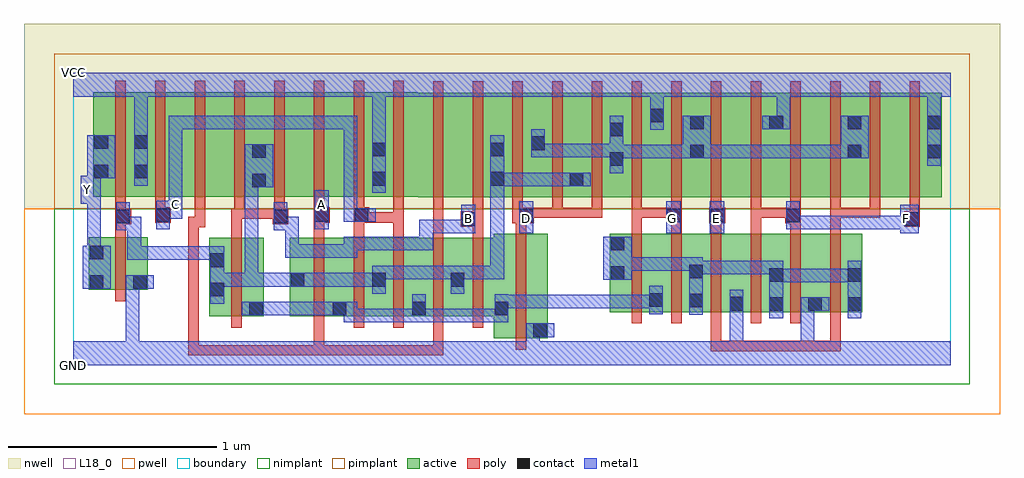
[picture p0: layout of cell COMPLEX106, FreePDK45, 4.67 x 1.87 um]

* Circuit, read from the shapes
.subckt COMPLEX106 A B C D E F G GND VCC Y
M1 GND n1 Y VSUBS nfet w=0.25u l=0.05u
M2 n2 B n1 VSUBS nfet w=0.375u l=0.05u m=2
M3 n2 A n1 VSUBS nfet w=0.375u l=0.05u m=2
M4 n1 C n2 VSUBS nfet w=0.375u l=0.05u m=2
M5 GND D n2 VSUBS nfet w=0.5u l=0.05u
M6 n2 G n3 VSUBS nfet w=0.375u l=0.05u m=2
M7 GND E n3 VSUBS nfet w=0.375u l=0.05u m=2
M8 n3 F GND VSUBS nfet w=0.375u l=0.05u m=2
M9 VCC n1 Y n4 pfet w=0.5u l=0.05u
M10 n5 C VCC n4 pfet w=0.5u l=0.05u
M11 n6 A n5 n4 pfet w=0.5u l=0.05u
M12 n1 B n6 n4 pfet w=0.5u l=0.05u
M13 n7 B n1 n4 pfet w=0.5u l=0.05u
M14 n8 A n7 n4 pfet w=0.5u l=0.05u
M15 VCC C n8 n4 pfet w=0.5u l=0.05u
M16 n9 C VCC n4 pfet w=0.5u l=0.05u
M17 n10 A n9 n4 pfet w=0.5u l=0.05u
M18 n1 B n10 n4 pfet w=0.5u l=0.05u
M19 n11 D n1 n4 pfet w=0.5u l=0.05u m=3
M20 VCC G n11 n4 pfet w=0.5u l=0.05u m=2
M21 n12 E n11 n4 pfet w=0.5u l=0.05u
M22 VCC F n12 n4 pfet w=0.5u l=0.05u
M23 n13 F VCC n4 pfet w=0.5u l=0.05u
M24 n11 E n13 n4 pfet w=0.5u l=0.05u
M25 n14 E n11 n4 pfet w=0.5u l=0.05u
M26 VCC F n14 n4 pfet w=0.5u l=0.05u
.ends

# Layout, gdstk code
import gdstk
lib = gdstk.Library(unit=1e-6, precision=1e-09)
def R(c, l, rs):  # rectangles x0, y0, x1, y1
    for r in rs: c.add(gdstk.rectangle(r[:2], r[2:], *l))
def A(c, l, x, y, w, h, nx, ny, dx, dy):  # array of equal rectangles
    R(c, l, [(x+i*dx, y+j*dy, x+i*dx+w, y+j*dy+h) for i in range(nx) for j in range(ny)])
active = (1, 0)
pwell = (2, 0)
nwell = (3, 0)
nimplant = (4, 0)
pimplant = (5, 0)
poly = (9, 0)
contact = (10, 0)
metal1 = (11, 0)
L18_0 = (18, 0)
boundary = (235, 0)

complex106 = lib.new_cell('COMPLEX106')
R(complex106, active, [(2.012,0.13,2.272,0.63), (2.197,0.13,2.272,0.592), (2.012,0.2,2.087,0.467), (0.652,0.235,0.912,0.61), (0.837,0.235,0.912,0.61), (1.037,0.235,1.312,0.61), (1.237,0.235,1.502,0.61), (1.237,0.235,1.312,0.512), (1.427,0.235,1.692,0.61), (1.617,0.235,1.877,0.61), (1.617,0.235,1.692,0.512), (1.802,0.235,2.087,0.61), (2.567,0.255,2.827,0.63), (2.752,0.255,3.017,0.63), (2.752,0.255,2.827,0.467), (2.942,0.255,3.212,0.63), (2.942,0.255,3.017,0.487), (3.137,0.255,3.402,0.63), (3.137,0.255,3.212,0.512), (3.327,0.255,3.587,0.63), (3.327,0.255,3.402,0.592), (3.512,0.255,3.777,0.63), (3.512,0.255,3.587,0.512), (3.702,0.255,3.777,0.63), (0.652,0.282,0.727,0.61), (1.037,0.32,1.112,0.61), (1.427,0.32,1.502,0.592), (1.802,0.32,1.877,0.467), (2.567,0.32,2.642,0.63), (0.075,0.362,0.15,0.612), (0.075,0.362,0.357,0.612), (0.282,0.362,0.357,0.612), (1.652,0.805,1.842,1.305), (1.842,0.805,2.067,1.305), (1.992,0.805,2.067,1.2), (1.992,0.805,2.262,1.305), (2.187,0.805,2.447,1.305), (2.372,0.805,2.637,1.305), (2.372,0.805,2.447,1.07), (2.562,0.805,2.637,1.2), (2.562,0.805,2.832,1.305), (2.757,0.805,2.832,1.305), (2.757,0.805,3.022,1.305), (2.947,0.805,3.172,1.305), (2.947,0.805,3.022,1.2), (3.172,0.805,3.402,1.305), (3.327,0.805,3.552,1.305), (3.552,0.805,3.777,1.305), (3.702,0.805,3.932,1.305), (3.702,0.805,3.777,1.2), (3.932,0.805,4.157,1.305), (4.082,0.805,4.157,1.305), (0.097,0.807,0.362,1.307), (0.097,0.807,0.172,1.2), (0.287,0.807,0.512,1.307), (0.287,0.807,0.362,1.305), (0.512,0.807,0.702,1.307), (0.702,0.807,0.927,1.307), (0.852,0.807,1.082,1.307), (0.852,0.807,0.927,1.07), (1.082,0.807,1.272,1.307), (1.272,0.807,1.502,1.307), (1.427,0.807,1.652,1.307), (1.427,0.807,1.502,1.305), (2.187,0.807,2.262,1.2), (3.327,0.807,3.402,1.305)])
R(complex106, pwell, [(-0.235,-0.235,4.435,0.75)])
R(complex106, nwell, [(-0.235,0.75,4.435,1.635)])
R(complex106, nimplant, [(-0.09,-0.09,4.29,0.75)])
R(complex106, pimplant, [(-0.09,0.75,4.29,1.49)])
A(complex106, poly, 1.152, 0.18, 0.05, 0.485, 5, 1, 0.19, 0)
A(complex106, poly, 2.672, 0.2, 0.05, 0.485, 6, 1, 0.19, 0)
A(complex106, poly, 1.152, 0.615, 0.05, 0.117, 3, 1, 0.19, 0)
A(complex106, poly, 2.102, 0.705, 0.05, 0.095, 10, 1, 0.19, 0)
A(complex106, poly, 2.292, 0.705, 0.05, 0.05, 3, 1, 0.19, 0)
A(complex106, poly, 1.722, 0.75, 0.05, 0.61, 13, 1, 0.19, 0)
A(complex106, poly, 0.202, 0.752, 0.05, 0.61, 8, 1, 0.19, 0)
R(complex106, poly, [(0.552,0.047,0.602,0.097), (0.552,0.047,0.602,0.097), (0.552,0.047,0.602,0.097), (0.552,0.047,0.735,0.097), (0.552,0.047,0.602,0.71), (0.685,0.047,0.735,0.097), (0.685,0.047,0.735,0.097), (0.685,0.047,0.735,0.097), (0.685,0.047,1.07,0.097), (1.02,0.047,1.07,0.097), (1.02,0.047,1.07,0.097), (1.02,0.047,1.07,0.097), (1.02,0.047,1.202,0.097), (1.152,0.047,1.202,0.097), (1.152,0.047,1.202,0.097), (1.152,0.047,1.202,0.097), (1.152,0.047,1.202,0.23), (1.152,0.047,1.335,0.097), (1.285,0.047,1.335,0.097), (1.285,0.047,1.335,0.097), (1.285,0.047,1.335,0.097), (1.285,0.047,1.55,0.097), (1.5,0.047,1.55,0.097), (1.5,0.047,1.55,0.097), (1.5,0.047,1.55,0.097), (1.5,0.047,1.772,0.097), (1.722,0.047,1.772,0.097), (1.722,0.047,1.772,0.097), (1.722,0.047,1.772,0.097), (1.722,0.047,1.772,0.23), (3.052,0.067,3.102,0.117), (3.052,0.067,3.102,0.25), (3.052,0.067,3.325,0.117), (3.275,0.067,3.325,0.117), (3.275,0.067,3.325,0.117), (3.275,0.067,3.325,0.117), (3.275,0.067,3.457,0.117), (3.407,0.067,3.457,0.117), (3.407,0.067,3.457,0.117), (3.407,0.067,3.457,0.117), (3.407,0.067,3.672,0.117), (3.622,0.067,3.672,0.117), (3.622,0.067,3.672,0.117), (3.622,0.067,3.672,0.117), (3.622,0.067,3.672,0.25), (2.117,0.075,2.167,0.685), (0.757,0.18,0.807,0.665), (0.202,0.307,0.252,0.667), (0.757,0.615,0.807,0.75), (1.722,0.615,1.772,0.755), (1.912,0.615,1.962,0.712), (0.202,0.617,0.252,0.725), (2.117,0.635,2.167,0.73), (2.672,0.635,2.722,0.755), (2.862,0.635,2.912,0.73), (3.052,0.635,3.102,0.73), (3.242,0.635,3.292,0.755), (3.432,0.635,3.482,0.73), (3.622,0.635,3.672,0.755), (0.552,0.66,0.602,0.71), (0.552,0.66,0.602,0.71), (0.552,0.66,0.602,0.71), (0.552,0.66,0.602,0.71), (0.552,0.66,0.632,0.71), (0.582,0.66,0.632,0.802), (1.855,0.662,1.962,0.737), (3.977,0.662,4.052,0.737), (0.202,0.675,0.277,0.75), (0.955,0.675,1.03,0.75), (2.102,0.68,2.205,0.755), (2.837,0.68,2.912,0.755), (3.045,0.68,3.12,0.755), (3.407,0.68,3.482,0.755), (0.392,0.682,0.467,0.757), (1.152,0.682,1.227,0.757), (1.342,0.682,1.417,0.757), (1.367,0.682,1.582,0.732), (1.532,0.682,1.582,0.732), (1.532,0.682,1.582,0.732), (1.532,0.682,1.582,0.732), (1.532,0.682,1.582,0.802), (1.912,0.687,1.962,0.8), (4.002,0.687,4.052,0.8), (0.202,0.7,0.252,0.802), (0.757,0.7,0.822,0.75), (0.772,0.7,0.822,0.802), (0.772,0.7,1.005,0.75), (0.955,0.7,1.005,0.75), (0.955,0.7,1.005,0.75), (0.962,0.7,1.012,0.802), (1.722,0.705,1.772,0.8), (1.722,0.705,1.772,0.755), (2.155,0.705,2.205,0.755), (2.155,0.705,2.205,0.755), (2.155,0.705,2.342,0.755), (2.292,0.705,2.342,0.755), (2.292,0.705,2.342,0.755), (2.292,0.705,2.532,0.755), (2.672,0.705,2.887,0.755), (2.837,0.705,2.887,0.755), (2.837,0.705,2.887,0.755), (3.242,0.705,3.292,0.755), (3.242,0.705,3.457,0.755), (3.407,0.705,3.457,0.755), (3.407,0.705,3.457,0.755), (3.622,0.705,3.672,0.755), (3.622,0.705,3.862,0.755), (3.812,0.705,3.862,0.755), (3.812,0.705,3.862,0.755), (3.812,0.705,3.862,0.755), (0.392,0.707,0.442,0.802), (1.152,0.707,1.202,0.802), (1.342,0.707,1.392,0.802)])
R(complex106, contact, [(2.202,0.135,2.267,0.2), (0.842,0.24,0.907,0.305), (1.242,0.24,1.307,0.305), (1.622,0.24,1.687,0.305), (2.017,0.24,2.082,0.305), (3.332,0.26,3.397,0.325), (3.517,0.26,3.582,0.325), (3.707,0.26,3.772,0.325), (3.142,0.262,3.207,0.327), (2.947,0.277,3.012,0.342), (2.757,0.28,2.822,0.345), (0.657,0.33,0.722,0.395), (0.08,0.367,0.145,0.432), (0.287,0.367,0.352,0.432), (1.042,0.377,1.107,0.442), (1.432,0.377,1.497,0.442), (1.807,0.377,1.872,0.442), (3.332,0.4,3.397,0.465), (3.707,0.4,3.772,0.465), (2.572,0.41,2.637,0.475), (2.947,0.417,3.012,0.482), (0.657,0.47,0.722,0.535), (0.08,0.507,0.145,0.572), (2.572,0.55,2.637,0.615), (1.86,0.667,1.925,0.732), (3.982,0.667,4.047,0.732), (0.207,0.68,0.272,0.745), (0.96,0.68,1.025,0.745), (2.135,0.685,2.2,0.75), (2.842,0.685,2.907,0.75), (3.05,0.685,3.115,0.75), (3.412,0.685,3.477,0.75), (0.397,0.687,0.462,0.752), (1.157,0.687,1.222,0.752), (1.347,0.687,1.412,0.752), (0.857,0.852,0.922,0.917), (2.377,0.857,2.442,0.922), (1.432,0.86,1.497,0.925), (1.997,0.86,2.062,0.925), (0.102,0.895,0.167,0.96), (0.292,0.895,0.357,0.96), (2.567,0.955,2.632,1.02), (2.952,0.99,3.017,1.055), (3.707,0.99,3.772,1.055), (4.087,0.99,4.152,1.055), (0.857,0.992,0.922,1.057), (1.432,1,1.497,1.065), (1.997,1,2.062,1.065), (2.192,1.03,2.257,1.095), (0.102,1.035,0.167,1.1), (0.292,1.035,0.357,1.1), (2.567,1.095,2.632,1.16), (2.952,1.13,3.017,1.195), (3.332,1.13,3.397,1.195), (3.707,1.13,3.772,1.195), (4.087,1.13,4.152,1.195), (2.762,1.162,2.827,1.227)])
R(complex106, metal1, [(0,0,4.2,0.115), (0.252,0.05,0.317,0.115), (0.252,0.05,0.317,0.115), (0.252,0.05,0.317,0.115), (0.252,0.05,0.317,0.115), (0.252,0.05,0.317,0.432), (2.167,0.05,2.232,0.2), (3.142,0.05,3.207,0.115), (3.142,0.05,3.207,0.115), (3.142,0.05,3.207,0.115), (3.142,0.05,3.207,0.115), (3.142,0.05,3.207,0.292), (3.482,0.05,3.547,0.325), (3.482,0.05,3.547,0.115), (3.482,0.05,3.547,0.115), (2.167,0.135,2.232,0.2), (2.167,0.135,2.232,0.2), (2.167,0.135,2.302,0.2), (1.295,0.205,1.55,0.27), (1.295,0.205,1.36,0.305), (1.485,0.205,1.55,0.27), (1.485,0.205,1.55,0.27), (1.485,0.205,1.55,0.27), (1.485,0.205,1.687,0.27), (1.622,0.205,1.722,0.27), (1.622,0.205,1.687,0.34), (1.657,0.205,1.722,0.27), (1.657,0.205,1.925,0.27), (1.86,0.205,1.925,0.27), (1.86,0.205,1.925,0.27), (1.86,0.205,1.925,0.27), (1.86,0.205,2.082,0.27), (2.017,0.205,2.082,0.34), (3.332,0.225,3.397,0.5), (3.707,0.225,3.772,0.5), (3.142,0.227,3.207,0.362), (0.807,0.24,0.942,0.305), (0.877,0.24,1.025,0.305), (0.96,0.24,1.025,0.305), (0.96,0.24,1.135,0.305), (1.07,0.24,1.135,0.305), (1.07,0.24,1.217,0.305), (1.152,0.24,1.217,0.305), (1.152,0.24,1.272,0.305), (1.207,0.24,1.342,0.305), (1.277,0.24,1.36,0.305), (2.947,0.242,3.012,0.517), (2.757,0.245,2.822,0.38), (3.482,0.26,3.547,0.325), (3.482,0.26,3.547,0.325), (3.482,0.26,3.617,0.325), (2.017,0.272,2.082,0.337), (2.017,0.272,2.082,0.337), (2.017,0.272,2.257,0.337), (2.192,0.272,2.257,0.337), (2.192,0.272,2.257,0.337), (2.192,0.272,2.257,0.337), (2.192,0.272,2.395,0.337), (2.33,0.272,2.395,0.337), (2.33,0.272,2.395,0.337), (2.33,0.272,2.395,0.337), (2.33,0.272,2.532,0.337), (2.467,0.272,2.532,0.337), (2.467,0.272,2.532,0.337), (2.467,0.272,2.532,0.337), (2.467,0.272,2.822,0.337), (0.657,0.295,0.722,0.57), (1.432,0.342,1.497,0.477), (1.807,0.342,1.872,0.477), (0.045,0.367,0.18,0.572), (0.252,0.367,0.317,0.432), (0.252,0.367,0.317,0.432), (0.252,0.367,0.387,0.432), (0.657,0.377,0.887,0.442), (0.822,0.377,0.887,0.442), (0.822,0.377,0.887,0.442), (0.822,0.377,0.887,0.442), (0.822,0.377,0.887,0.442), (0.822,0.377,0.887,0.442), (0.822,0.377,0.887,0.442), (0.822,0.377,0.887,0.442), (0.822,0.377,1.072,0.442), (0.822,0.377,0.887,0.917), (1.007,0.377,1.072,0.442), (1.007,0.377,1.072,0.442), (1.007,0.377,1.142,0.442), (1.077,0.377,1.222,0.442), (1.157,0.377,1.222,0.442), (1.157,0.377,1.36,0.442), (1.295,0.377,1.36,0.442), (1.295,0.377,1.36,0.442), (1.295,0.377,1.36,0.442), (1.295,0.377,1.497,0.442), (3.332,0.397,3.397,0.462), (3.332,0.397,3.397,0.462), (3.332,0.397,3.6,0.462), (3.535,0.397,3.6,0.462), (3.535,0.397,3.635,0.462), (3.57,0.397,3.635,0.462), (3.57,0.397,3.772,0.462), (2.537,0.41,2.672,0.615), (1.432,0.412,1.497,0.477), (1.432,0.412,1.497,0.477), (1.432,0.412,1.722,0.477), (1.657,0.412,1.722,0.477), (1.657,0.412,1.722,0.477), (1.657,0.412,1.722,0.477), (1.657,0.412,1.872,0.477), (1.807,0.412,1.872,0.477), (1.807,0.412,1.872,0.477), (1.807,0.412,2.062,0.477), (1.997,0.412,2.062,0.477), (1.997,0.412,2.062,0.477), (1.997,0.412,2.062,0.477), (1.997,0.412,2.062,0.89), (2.947,0.435,3.012,0.5), (2.947,0.435,3.012,0.5), (2.947,0.435,3.225,0.5), (3.16,0.435,3.225,0.5), (3.16,0.435,3.225,0.5), (3.16,0.435,3.225,0.5), (3.16,0.435,3.397,0.5), (2.607,0.452,2.672,0.517), (2.607,0.452,2.672,0.517), (2.607,0.452,2.845,0.517), (2.78,0.452,2.845,0.517), (2.78,0.452,2.845,0.517), (2.78,0.452,2.845,0.517), (2.78,0.452,3.012,0.517), (0.26,0.505,0.325,0.57), (0.26,0.505,0.462,0.57), (0.26,0.505,0.325,0.71), (0.397,0.505,0.462,0.57), (0.397,0.505,0.462,0.57), (0.397,0.505,0.462,0.57), (0.397,0.505,0.722,0.57), (0.657,0.505,0.722,0.57), (0.657,0.505,0.722,0.57), (0.067,0.507,0.132,0.837), (1.015,0.515,1.08,0.58), (1.015,0.515,1.217,0.58), (1.015,0.515,1.08,0.71), (1.152,0.515,1.217,0.58), (1.152,0.515,1.36,0.58), (1.295,0.515,1.36,0.58), (1.295,0.515,1.36,0.58), (1.295,0.515,1.36,0.615), (1.295,0.55,1.547,0.615), (1.482,0.55,1.547,0.615), (1.482,0.55,1.585,0.615), (1.52,0.55,1.585,0.615), (1.52,0.55,1.722,0.615), (1.657,0.55,1.722,0.615), (1.657,0.55,1.722,0.697), (1.657,0.632,1.722,0.697), (1.657,0.632,1.722,0.697), (1.657,0.632,1.722,0.697), (1.657,0.632,1.922,0.697), (1.857,0.632,1.922,0.697), (1.857,0.632,1.922,0.697), (1.857,0.632,1.925,0.767), (2.135,0.632,2.202,0.785), (2.837,0.632,2.907,0.785), (3.047,0.632,3.115,0.785), (3.957,0.632,4.047,0.767), (0.207,0.645,0.272,0.78), (0.207,0.645,0.325,0.71), (0.26,0.645,0.325,0.71), (0.96,0.645,1.025,0.78), (0.96,0.645,1.08,0.71), (1.015,0.645,1.08,0.71), (3.412,0.65,3.6,0.715), (3.412,0.65,3.477,0.785), (3.535,0.65,3.6,0.715), (3.535,0.65,3.737,0.715), (3.672,0.65,3.737,0.715), (3.672,0.65,3.737,0.715), (3.672,0.65,3.737,0.715), (3.672,0.65,3.875,0.715), (3.81,0.65,4.015,0.715), (3.81,0.65,3.875,0.715), (3.95,0.65,4.022,0.715), (3.95,0.65,4.015,0.715), (0.397,0.652,0.462,0.787), (1.157,0.652,1.222,0.837), (1.295,0.687,1.36,0.752), (1.295,0.687,1.377,0.752), (1.295,0.687,1.36,1.195), (1.312,0.687,1.447,0.752), (0.397,0.702,0.522,0.767), (0.457,0.702,0.522,0.837), (0.037,0.772,0.132,0.907), (0.457,0.772,0.522,0.837), (0.457,0.772,0.522,0.837), (0.457,0.772,0.522,1.195), (1.432,0.825,1.497,1.1), (1.997,0.825,2.062,1.1), (1.997,0.825,2.062,0.89), (1.997,0.825,2.062,0.89), (0.067,0.842,0.132,0.96), (0.822,0.852,0.957,1.057), (1.997,0.857,2.062,0.922), (1.997,0.857,2.062,0.922), (1.997,0.857,2.257,0.922), (2.192,0.857,2.257,0.922), (2.192,0.857,2.257,0.922), (2.192,0.857,2.257,0.922), (2.192,0.857,2.407,0.922), (2.342,0.857,2.477,0.922), (0.292,0.86,0.357,1.135), (0.067,0.895,0.202,1.1), (2.567,0.92,2.632,1.195), (4.087,0.955,4.152,1.23), (2.567,0.99,2.632,1.055), (2.567,0.99,2.632,1.055), (2.567,0.99,2.81,1.055), (2.745,0.99,2.81,1.055), (2.745,0.99,2.81,1.055), (2.745,0.99,2.81,1.055), (2.745,0.99,2.982,1.055), (2.917,0.99,3.052,1.195), (2.987,0.99,3.052,1.055), (2.987,0.99,3.052,1.055), (2.987,0.99,3.225,1.055), (3.16,0.99,3.225,1.055), (3.16,0.99,3.225,1.055), (3.16,0.99,3.225,1.055), (3.16,0.99,3.362,1.055), (3.297,0.99,3.362,1.055), (3.297,0.99,3.362,1.055), (3.297,0.99,3.362,1.055), (3.297,0.99,3.6,1.055), (3.535,0.99,3.6,1.055), (3.535,0.99,3.737,1.055), (3.672,0.99,3.737,1.055), (3.672,0.99,3.737,1.055), (3.672,0.99,3.807,1.195), (2.192,0.995,2.257,1.06), (2.192,0.995,2.257,1.06), (2.192,0.995,2.395,1.06), (2.192,0.995,2.257,1.13), (2.33,0.995,2.395,1.06), (2.33,0.995,2.395,1.06), (2.33,0.995,2.395,1.06), (2.33,0.995,2.632,1.06), (1.432,1.035,1.497,1.35), (0.292,1.07,0.357,1.35), (2.762,1.127,2.827,1.262), (0.457,1.13,0.522,1.195), (0.457,1.13,0.66,1.195), (0.595,1.13,0.66,1.195), (0.595,1.13,0.66,1.195), (0.595,1.13,0.66,1.195), (0.595,1.13,0.86,1.195), (0.795,1.13,0.86,1.195), (0.795,1.13,0.86,1.195), (0.795,1.13,0.86,1.195), (0.795,1.13,1.08,1.195), (1.015,1.13,1.08,1.195), (1.015,1.13,1.08,1.195), (1.015,1.13,1.08,1.195), (1.015,1.13,1.217,1.195), (1.152,1.13,1.217,1.195), (1.152,1.13,1.36,1.195), (1.295,1.13,1.36,1.195), (1.295,1.13,1.36,1.195), (1.295,1.13,1.36,1.195), (3.297,1.13,3.432,1.195), (3.367,1.13,3.432,1.35), (4.087,1.165,4.152,1.35), (2.762,1.197,2.827,1.35), (0,1.285,4.2,1.4)])
R(complex106, L18_0, [(0,0,4.2,0.115), (0.252,0.05,0.317,0.115), (0.252,0.05,0.317,0.115), (0.252,0.05,0.317,0.115), (0.252,0.05,0.317,0.115), (0.252,0.05,0.317,0.432), (2.167,0.05,2.232,0.2), (3.142,0.05,3.207,0.115), (3.142,0.05,3.207,0.115), (3.142,0.05,3.207,0.115), (3.142,0.05,3.207,0.115), (3.142,0.05,3.207,0.292), (3.482,0.05,3.547,0.115), (3.482,0.05,3.547,0.115), (3.482,0.05,3.547,0.325), (2.167,0.135,2.232,0.2), (2.167,0.135,2.232,0.2), (2.167,0.135,2.302,0.2), (3.142,0.227,3.207,0.362), (3.482,0.26,3.547,0.325), (3.482,0.26,3.547,0.325), (3.482,0.26,3.617,0.325), (0.045,0.367,0.18,0.572), (0.252,0.367,0.317,0.432), (0.252,0.367,0.317,0.432), (0.252,0.367,0.387,0.432), (0.067,0.507,0.132,0.837), (1.015,0.515,1.08,0.58), (1.015,0.515,1.08,0.71), (1.015,0.515,1.217,0.58), (1.152,0.515,1.217,0.58), (1.152,0.515,1.36,0.58), (1.295,0.515,1.36,0.58), (1.295,0.515,1.36,0.58), (1.295,0.515,1.36,0.615), (1.295,0.55,1.547,0.615), (1.482,0.55,1.547,0.615), (1.482,0.55,1.585,0.615), (1.52,0.55,1.585,0.615), (1.52,0.55,1.722,0.615), (1.657,0.55,1.722,0.615), (1.657,0.55,1.722,0.697), (1.657,0.632,1.722,0.697), (1.657,0.632,1.722,0.697), (1.657,0.632,1.722,0.697), (1.657,0.632,1.922,0.697), (1.857,0.632,1.922,0.697), (1.857,0.632,1.922,0.697), (1.857,0.632,1.925,0.767), (2.135,0.632,2.202,0.785), (2.837,0.632,2.907,0.785), (3.047,0.632,3.115,0.785), (3.957,0.632,4.047,0.767), (0.96,0.645,1.025,0.78), (0.96,0.645,1.08,0.71), (1.015,0.645,1.08,0.71), (3.412,0.65,3.477,0.785), (3.412,0.65,3.6,0.715), (3.535,0.65,3.6,0.715), (3.535,0.65,3.737,0.715), (3.672,0.65,3.737,0.715), (3.672,0.65,3.737,0.715), (3.672,0.65,3.737,0.715), (3.672,0.65,3.875,0.715), (3.81,0.65,3.875,0.715), (3.81,0.65,4.015,0.715), (3.95,0.65,4.015,0.715), (3.95,0.65,4.022,0.715), (0.397,0.652,0.462,0.787), (1.157,0.652,1.222,0.837), (1.857,0.667,1.922,0.732), (2.137,0.667,2.202,0.732), (2.837,0.667,2.902,0.732), (3.047,0.667,3.112,0.732), (3.957,0.667,4.022,0.732), (1.295,0.687,1.36,0.752), (1.295,0.687,1.36,1.195), (1.295,0.687,1.377,0.752), (1.312,0.687,1.447,0.752), (0.397,0.702,0.522,0.767), (0.457,0.702,0.522,0.837), (0.457,0.737,0.522,0.802), (1.157,0.737,1.222,0.802), (0.037,0.772,0.132,0.907), (0.457,0.772,0.522,0.837), (0.457,0.772,0.522,0.837), (0.457,0.772,0.522,1.195), (0.037,0.807,0.102,0.872), (1.432,0.825,1.497,1.1), (0.067,0.842,0.132,0.96), (0.292,0.86,0.357,1.135), (0.067,0.895,0.202,1.1), (4.087,0.955,4.152,1.23), (1.432,1.035,1.497,1.35), (0.292,1.07,0.357,1.35), (2.762,1.127,2.827,1.262), (0.457,1.13,0.522,1.195), (0.457,1.13,0.66,1.195), (0.595,1.13,0.66,1.195), (0.595,1.13,0.66,1.195), (0.595,1.13,0.66,1.195), (0.595,1.13,0.86,1.195), (0.795,1.13,0.86,1.195), (0.795,1.13,0.86,1.195), (0.795,1.13,0.86,1.195), (0.795,1.13,1.08,1.195), (1.015,1.13,1.08,1.195), (1.015,1.13,1.08,1.195), (1.015,1.13,1.08,1.195), (1.015,1.13,1.217,1.195), (1.152,1.13,1.217,1.195), (1.152,1.13,1.36,1.195), (1.295,1.13,1.36,1.195), (1.295,1.13,1.36,1.195), (1.295,1.13,1.36,1.195), (3.297,1.13,3.432,1.195), (3.367,1.13,3.432,1.35), (4.087,1.165,4.152,1.35), (2.762,1.197,2.827,1.35), (0,1.285,4.2,1.4)])
R(complex106, boundary, [(0,0,4.2,1.4)])
complex106.add(gdstk.Label('A', (1.19,0.77), layer=11, texttype=0))
complex106.add(gdstk.Label('B', (1.89,0.7), layer=11, texttype=0))
complex106.add(gdstk.Label('C', (0.49,0.77), layer=11, texttype=0))
complex106.add(gdstk.Label('D', (2.17,0.7), layer=11, texttype=0))
complex106.add(gdstk.Label('E', (3.08,0.7), layer=11, texttype=0))
complex106.add(gdstk.Label('F', (3.99,0.7), layer=11, texttype=0))
complex106.add(gdstk.Label('G', (2.87,0.7), layer=11, texttype=0))
complex106.add(gdstk.Label('Y', (0.07,0.84), layer=11, texttype=0))
complex106.add(gdstk.Label('VCC', (0,1.4), layer=11, texttype=0))
complex106.add(gdstk.Label('GND', (0,0), layer=11, texttype=0))

lib.write_gds('COMPLEX106.gds')
